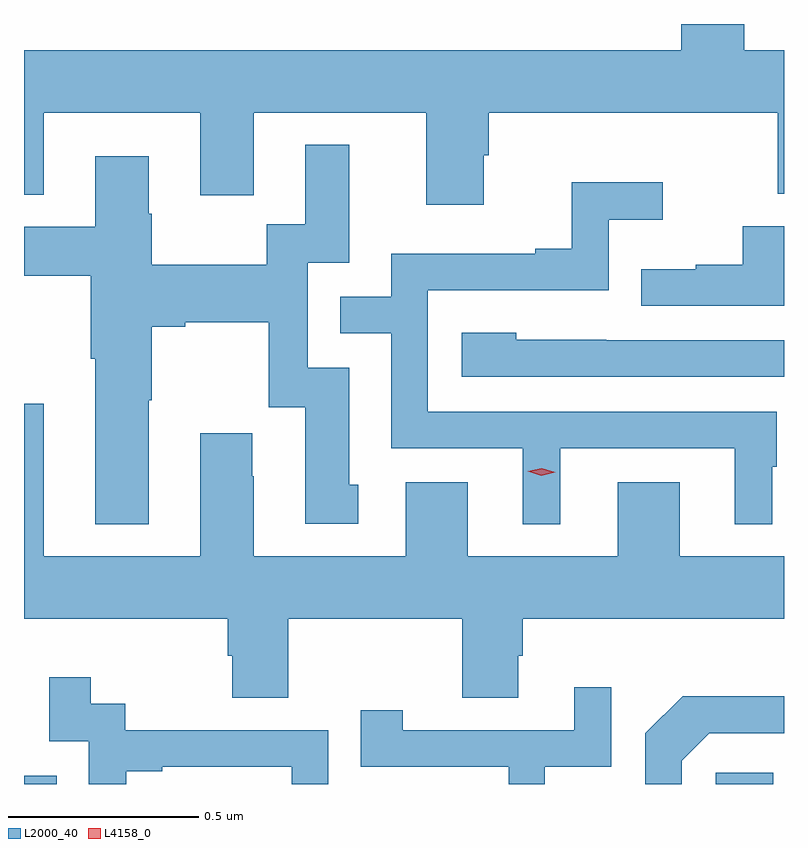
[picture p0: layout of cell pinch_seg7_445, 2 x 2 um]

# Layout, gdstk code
import gdstk
lib = gdstk.Library(unit=1e-6, precision=1e-09)
def R(c, l, rs):  # rectangles x0, y0, x1, y1
    for r in rs: c.add(gdstk.rectangle(r[:2], r[2:], *l))
def P(c, l, *ps):  # polygons
    for p in ps: c.add(gdstk.Polygon(p, *l))
L2000_40 = (2000, 40)
L4158_0 = (4158, 0)

pinch_seg7_445 = lib.new_cell('pinch_seg7_445')
R(pinch_seg7_445, L2000_40, [(327.303,1046.801,327.389,1046.823), (329.124,1046.801,329.275,1046.83)])
P(pinch_seg7_445, L2000_40, [(328.513,1048.455),(328.526,1048.455),(328.526,1048.568),(329.286,1048.568),(329.286,1048.354),(329.303,1048.354),(329.303,1048.732),(329.198,1048.732),(329.198,1048.801),(329.033,1048.801),(329.033,1048.732),(327.303,1048.732),(327.303,1048.352),(327.355,1048.352),(327.355,1048.568),(327.767,1048.568),(327.767,1048.35),(327.907,1048.35),(327.907,1048.568),(328.361,1048.568),(328.361,1048.326),(328.513,1048.326)],
  [(327.631,1047.811),(327.639,1047.811),(327.639,1048.004),(327.727,1048.004),(327.727,1048.016),(327.947,1048.016),(327.947,1047.792),(328.043,1047.792),(328.043,1047.486),(328.183,1047.486),(328.183,1047.588),(328.159,1047.588),(328.159,1047.897),(328.05,1047.897),(328.05,1048.173),(328.159,1048.173),(328.159,1048.483),(328.043,1048.483),(328.043,1048.274),(327.942,1048.274),(327.942,1048.168),(327.639,1048.168),(327.639,1048.302),(327.631,1048.302),(327.631,1048.453),(327.491,1048.453),(327.491,1048.267),(327.303,1048.267),(327.303,1048.138),(327.479,1048.138),(327.479,1047.92),(327.491,1047.92),(327.491,1047.485),(327.631,1047.485)],
  [(328.714,1047.684),(329.174,1047.684),(329.174,1047.485),(329.272,1047.485),(329.272,1047.636),(329.284,1047.636),(329.284,1047.78),(328.365,1047.78),(328.365,1048.101),(328.842,1048.101),(328.842,1048.286),(328.984,1048.286),(328.984,1048.385),(328.744,1048.385),(328.744,1048.21),(328.649,1048.21),(328.649,1048.197),(328.269,1048.197),(328.269,1048.083),(328.135,1048.083),(328.135,1047.987),(328.269,1047.987),(328.269,1047.684),(328.616,1047.684),(328.616,1047.485),(328.714,1047.485)],
  [(329.303,1048.269),(329.195,1048.269),(329.195,1048.168),(329.071,1048.168),(329.071,1048.156),(328.927,1048.156),(328.927,1048.059),(329.303,1048.059)],
  [(329.303,1047.969),(328.835,1047.969),(328.835,1047.97),(328.599,1047.97),(328.599,1047.988),(328.455,1047.988),(328.455,1047.873),(329.303,1047.873)],
  [(327.999,1047.236),(328.456,1047.236),(328.456,1047.028),(328.603,1047.028),(328.603,1047.138),(328.616,1047.138),(328.616,1047.236),(329.303,1047.236),(329.303,1047.4),(329.029,1047.4),(329.029,1047.595),(328.865,1047.595),(328.865,1047.4),(328.471,1047.4),(328.471,1047.595),(328.307,1047.595),(328.307,1047.4),(327.907,1047.4),(327.907,1047.611),(327.904,1047.611),(327.904,1047.724),(327.767,1047.724),(327.767,1047.4),(327.355,1047.4),(327.355,1047.802),(327.303,1047.802),(327.303,1047.236),(327.839,1047.236),(327.839,1047.138),(327.851,1047.138),(327.851,1047.028),(327.999,1047.028)],
  [(327.572,1046.835),(327.667,1046.835),(327.667,1046.847),(328.008,1046.847),(328.008,1046.801),(328.104,1046.801),(328.104,1046.943),(327.57,1046.943),(327.57,1047.012),(327.478,1047.012),(327.478,1047.082),(327.369,1047.082),(327.369,1046.913),(327.474,1046.913),(327.474,1046.801),(327.572,1046.801)],
  [(328.674,1046.847),(328.848,1046.847),(328.848,1047.055),(328.751,1047.055),(328.751,1046.943),(328.3,1046.943),(328.3,1046.995),(328.189,1046.995),(328.189,1046.847),(328.578,1046.847),(328.578,1046.801),(328.674,1046.801)],
  [(329.034,1046.862),(329.106,1046.934),(329.303,1046.934),(329.303,1047.032),(329.036,1047.032),(328.938,1046.934),(328.938,1046.801),(329.034,1046.801)])
P(pinch_seg7_445, L4158_0, [(328.664,1047.612),(328.629,1047.624),(328.629,1047.624),(328.629,1047.624),(328.665,1047.632),(328.701,1047.621),(328.701,1047.621),(328.701,1047.621)])

lib.write_gds('pinch_seg7_445.gds')
